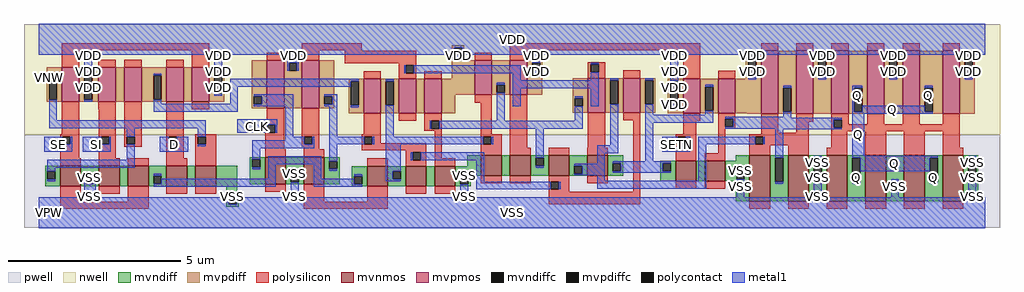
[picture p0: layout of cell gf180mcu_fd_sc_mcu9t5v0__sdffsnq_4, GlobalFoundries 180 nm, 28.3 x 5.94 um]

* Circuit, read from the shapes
.subckt gf180mcu_fd_sc_mcu9t5v0__sdffsnq_4 D SE SETN SI CLK Q VDD VNW VPW VSS
XM1 VSS SE n1 VPW nfet_06v0 w=0.59u l=0.6u
XM2 n2 SI VSS VPW nfet_06v0 w=0.59u l=0.6u
XM3 n3 SE n2 VPW nfet_06v0 w=0.59u l=0.6u
XM4 n4 D n3 VPW nfet_06v0 w=0.59u l=0.6u
XM5 VSS n1 n4 VPW nfet_06v0 w=0.59u l=0.6u
XM6 VSS CLK n5 VPW nfet_06v0 w=0.79u l=0.6u
XM7 n6 n5 VSS VPW nfet_06v0 w=0.79u l=0.6u
XM8 n7 n5 n3 VPW nfet_06v0 w=0.59u l=0.6u
XM9 n8 n6 n7 VPW nfet_06v0 w=0.59u l=0.6u
XM10 VSS n9 n8 VPW nfet_06v0 w=0.59u l=0.6u
XM11 n10 n7 VSS VPW nfet_06v0 w=0.59u l=0.6u
XM12 n9 SETN n10 VPW nfet_06v0 w=0.59u l=0.6u
XM13 n11 n6 n9 VPW nfet_06v0 w=0.59u l=0.6u
XM14 n12 n5 n11 VPW nfet_06v0 w=0.59u l=0.6u
XM15 n13 SETN n12 VPW nfet_06v0 w=0.59u l=0.6u
XM16 VSS n14 n13 VPW nfet_06v0 w=0.59u l=0.6u
XM17 n14 n11 VSS VPW nfet_06v0 w=1.32u l=0.6u m=2
XM18 Q n14 VSS VPW nfet_06v0 w=1.32u l=0.6u m=4
XM19 VDD SE n1 VNW pfet_06v0 w=1u l=0.5u
XM20 n15 SI VDD VNW pfet_06v0 w=1u l=0.5u
XM21 n16 n1 n15 VNW pfet_06v0 w=1u l=0.5u
XM22 n17 D n16 VNW pfet_06v0 w=1u l=0.5u
XM23 VDD SE n17 VNW pfet_06v0 w=1u l=0.5u
XM24 VDD CLK n5 VNW pfet_06v0 w=1.38u l=0.5u
XM25 n6 n5 VDD VNW pfet_06v0 w=1.38u l=0.5u
XM26 n7 n6 n16 VNW pfet_06v0 w=1u l=0.5u
XM27 n18 n5 n7 VNW pfet_06v0 w=1u l=0.5u
XM28 VDD n9 n18 VNW pfet_06v0 w=1u l=0.5u
XM29 n9 n7 VDD VNW pfet_06v0 w=1u l=0.5u
XM30 VDD SETN n9 VNW pfet_06v0 w=1u l=0.5u
XM31 n11 n5 n9 VNW pfet_06v0 w=1u l=0.5u
XM32 n12 n6 n11 VNW pfet_06v0 w=1u l=0.5u
XM33 n12 SETN VDD VNW pfet_06v0 w=1u l=0.5u
XM34 VDD n14 n12 VNW pfet_06v0 w=1u l=0.5u
XM35 n14 n11 VDD VNW pfet_06v0 w=1.83u l=0.5u m=2
XM36 Q n14 VDD VNW pfet_06v0 w=1.83u l=0.5u m=4
.ends

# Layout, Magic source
magic
tech gf180mcuD
magscale 1 10
<< nwell >>
rect -86 453 5574 1094
<< pwell >>
rect -86 -86 5574 453
<< mvnmos >>
rect 124 156 244 274
rect 348 156 468 274
rect 516 156 636 274
rect 740 156 860 274
rect 908 156 1028 274
rect 1312 166 1432 324
rect 1536 166 1656 324
rect 1904 154 2024 272
rect 2128 154 2248 272
rect 2296 154 2416 272
rect 2564 215 2684 333
rect 2732 215 2852 333
rect 2956 215 3076 333
rect 3180 215 3300 333
rect 3693 184 3813 302
rect 3861 184 3981 302
rect 4121 69 4241 333
rect 4345 69 4465 333
rect 4569 69 4689 333
rect 4793 69 4913 333
rect 5017 69 5137 333
rect 5241 69 5361 333
<< mvpmos >>
rect 134 644 234 844
rect 345 644 445 844
rect 496 644 596 844
rect 740 644 840 844
rect 888 644 988 844
rect 1322 608 1422 884
rect 1526 608 1626 884
rect 1884 577 1984 777
rect 2088 577 2188 777
rect 2236 577 2336 777
rect 2528 684 2628 884
rect 2732 684 2832 884
rect 3184 582 3284 782
rect 3388 582 3488 782
rect 3736 579 3836 779
rect 3940 579 4040 779
rect 4188 574 4288 940
rect 4392 574 4492 940
rect 4596 574 4696 940
rect 4803 574 4903 940
rect 5009 574 5109 940
rect 5241 574 5341 940
<< mvndiff >>
rect 1224 311 1312 324
rect 36 242 124 274
rect 36 196 49 242
rect 95 196 124 242
rect 36 156 124 196
rect 244 215 348 274
rect 244 169 273 215
rect 319 169 348 215
rect 244 156 348 169
rect 468 156 516 274
rect 636 215 740 274
rect 636 169 665 215
rect 711 169 740 215
rect 636 156 740 169
rect 860 156 908 274
rect 1028 156 1152 274
rect 1224 265 1237 311
rect 1283 265 1312 311
rect 1224 166 1312 265
rect 1432 225 1536 324
rect 1432 179 1461 225
rect 1507 179 1536 225
rect 1432 166 1536 179
rect 1656 301 1744 324
rect 1656 255 1685 301
rect 1731 255 1744 301
rect 2484 272 2564 333
rect 1656 166 1744 255
rect 1816 213 1904 272
rect 1816 167 1829 213
rect 1875 167 1904 213
rect 1088 107 1152 156
rect 1088 95 1160 107
rect 1088 49 1101 95
rect 1147 49 1160 95
rect 1088 36 1160 49
rect 1816 154 1904 167
rect 2024 242 2128 272
rect 2024 196 2053 242
rect 2099 196 2128 242
rect 2024 154 2128 196
rect 2248 154 2296 272
rect 2416 215 2564 272
rect 2684 215 2732 333
rect 2852 320 2956 333
rect 2852 274 2881 320
rect 2927 274 2956 320
rect 2852 215 2956 274
rect 3076 274 3180 333
rect 3076 228 3105 274
rect 3151 228 3180 274
rect 3076 215 3180 228
rect 3300 289 3388 333
rect 3300 243 3329 289
rect 3375 243 3388 289
rect 3300 215 3388 243
rect 2416 213 2504 215
rect 2416 167 2445 213
rect 2491 167 2504 213
rect 2416 154 2504 167
rect 4041 302 4121 333
rect 3605 289 3693 302
rect 3605 243 3618 289
rect 3664 243 3693 289
rect 3605 184 3693 243
rect 3813 184 3861 302
rect 3981 242 4121 302
rect 3981 196 4046 242
rect 4092 196 4121 242
rect 3981 184 4121 196
rect 4041 69 4121 184
rect 4241 320 4345 333
rect 4241 180 4270 320
rect 4316 180 4345 320
rect 4241 69 4345 180
rect 4465 320 4569 333
rect 4465 180 4494 320
rect 4540 180 4569 320
rect 4465 69 4569 180
rect 4689 320 4793 333
rect 4689 180 4718 320
rect 4764 180 4793 320
rect 4689 69 4793 180
rect 4913 185 5017 333
rect 4913 139 4942 185
rect 4988 139 5017 185
rect 4913 69 5017 139
rect 5137 320 5241 333
rect 5137 180 5166 320
rect 5212 180 5241 320
rect 5137 69 5241 180
rect 5361 320 5449 333
rect 5361 180 5390 320
rect 5436 180 5449 320
rect 5361 69 5449 180
<< mvpdiff >>
rect 2396 959 2468 972
rect 46 797 134 844
rect 46 657 59 797
rect 105 657 134 797
rect 46 644 134 657
rect 234 797 345 844
rect 234 657 263 797
rect 309 657 345 797
rect 234 644 345 657
rect 445 644 496 844
rect 596 797 740 844
rect 596 657 665 797
rect 711 657 740 797
rect 596 644 740 657
rect 840 644 888 844
rect 988 831 1076 844
rect 988 691 1017 831
rect 1063 691 1076 831
rect 988 644 1076 691
rect 1234 676 1322 884
rect 1234 630 1247 676
rect 1293 630 1322 676
rect 1234 608 1322 630
rect 1422 871 1526 884
rect 1422 825 1451 871
rect 1497 825 1526 871
rect 1422 608 1526 825
rect 1626 676 1714 884
rect 2396 913 2409 959
rect 2455 913 2468 959
rect 2396 884 2468 913
rect 2396 777 2528 884
rect 1626 630 1655 676
rect 1701 630 1714 676
rect 1626 608 1714 630
rect 1796 764 1884 777
rect 1796 624 1809 764
rect 1855 624 1884 764
rect 1796 577 1884 624
rect 1984 764 2088 777
rect 1984 624 2013 764
rect 2059 624 2088 764
rect 1984 577 2088 624
rect 2188 577 2236 777
rect 2336 684 2528 777
rect 2628 743 2732 884
rect 2628 697 2657 743
rect 2703 697 2732 743
rect 2628 684 2732 697
rect 2832 871 2920 884
rect 2832 825 2861 871
rect 2907 825 2920 871
rect 2832 684 2920 825
rect 2336 577 2416 684
rect 3096 665 3184 782
rect 3096 619 3109 665
rect 3155 619 3184 665
rect 3096 582 3184 619
rect 3284 769 3388 782
rect 3284 629 3313 769
rect 3359 629 3388 769
rect 3284 582 3388 629
rect 3488 769 3576 782
rect 4100 927 4188 940
rect 4100 787 4113 927
rect 4159 787 4188 927
rect 4100 779 4188 787
rect 3488 629 3517 769
rect 3563 629 3576 769
rect 3488 582 3576 629
rect 3648 766 3736 779
rect 3648 626 3661 766
rect 3707 626 3736 766
rect 3648 579 3736 626
rect 3836 732 3940 779
rect 3836 592 3865 732
rect 3911 592 3940 732
rect 3836 579 3940 592
rect 4040 579 4188 779
rect 4108 574 4188 579
rect 4288 727 4392 940
rect 4288 587 4317 727
rect 4363 587 4392 727
rect 4288 574 4392 587
rect 4492 927 4596 940
rect 4492 787 4521 927
rect 4567 787 4596 927
rect 4492 574 4596 787
rect 4696 727 4803 940
rect 4696 587 4728 727
rect 4774 587 4803 727
rect 4696 574 4803 587
rect 4903 927 5009 940
rect 4903 787 4932 927
rect 4978 787 5009 927
rect 4903 574 5009 787
rect 5109 727 5241 940
rect 5109 587 5138 727
rect 5184 587 5241 727
rect 5109 574 5241 587
rect 5341 927 5429 940
rect 5341 787 5370 927
rect 5416 787 5429 927
rect 5341 574 5429 787
<< mvndiffc >>
rect 49 196 95 242
rect 273 169 319 215
rect 665 169 711 215
rect 1237 265 1283 311
rect 1461 179 1507 225
rect 1685 255 1731 301
rect 1829 167 1875 213
rect 1101 49 1147 95
rect 2053 196 2099 242
rect 2881 274 2927 320
rect 3105 228 3151 274
rect 3329 243 3375 289
rect 2445 167 2491 213
rect 3618 243 3664 289
rect 4046 196 4092 242
rect 4270 180 4316 320
rect 4494 180 4540 320
rect 4718 180 4764 320
rect 4942 139 4988 185
rect 5166 180 5212 320
rect 5390 180 5436 320
<< mvpdiffc >>
rect 59 657 105 797
rect 263 657 309 797
rect 665 657 711 797
rect 1017 691 1063 831
rect 1247 630 1293 676
rect 1451 825 1497 871
rect 2409 913 2455 959
rect 1655 630 1701 676
rect 1809 624 1855 764
rect 2013 624 2059 764
rect 2657 697 2703 743
rect 2861 825 2907 871
rect 3109 619 3155 665
rect 3313 629 3359 769
rect 4113 787 4159 927
rect 3517 629 3563 769
rect 3661 626 3707 766
rect 3865 592 3911 732
rect 4317 587 4363 727
rect 4521 787 4567 927
rect 4728 587 4774 727
rect 4932 787 4978 927
rect 5138 587 5184 727
rect 5370 787 5416 927
<< polysilicon >>
rect 134 944 988 984
rect 134 844 234 944
rect 345 844 445 888
rect 496 844 596 888
rect 740 844 840 888
rect 888 844 988 944
rect 1526 944 1874 984
rect 1322 884 1422 928
rect 1526 884 1626 944
rect 1774 941 1874 944
rect 134 456 234 644
rect 345 600 445 644
rect 124 443 234 456
rect 124 397 137 443
rect 183 397 234 443
rect 124 318 234 397
rect 348 443 445 600
rect 348 397 361 443
rect 407 397 445 443
rect 348 318 445 397
rect 496 443 596 644
rect 496 397 509 443
rect 555 397 596 443
rect 496 384 596 397
rect 740 443 840 644
rect 888 600 988 644
rect 1774 869 2188 941
rect 2088 856 2188 869
rect 1884 777 1984 821
rect 2088 810 2129 856
rect 2175 810 2188 856
rect 2732 944 3836 984
rect 2528 884 2628 928
rect 2732 884 2832 944
rect 2088 777 2188 810
rect 2236 777 2336 821
rect 1322 525 1422 608
rect 1312 512 1422 525
rect 1312 466 1325 512
rect 1371 466 1422 512
rect 740 397 753 443
rect 799 397 840 443
rect 740 318 840 397
rect 908 443 1028 456
rect 908 397 921 443
rect 967 397 1028 443
rect 124 274 244 318
rect 348 274 468 318
rect 516 274 636 318
rect 740 274 860 318
rect 908 274 1028 397
rect 1312 368 1422 466
rect 1526 443 1626 608
rect 3184 861 3284 874
rect 3184 815 3201 861
rect 3247 815 3284 861
rect 3184 782 3284 815
rect 3388 782 3488 826
rect 2528 640 2628 684
rect 1884 456 1984 577
rect 2088 533 2188 577
rect 2236 535 2336 577
rect 2236 489 2277 535
rect 2323 489 2336 535
rect 2236 476 2336 489
rect 1526 397 1539 443
rect 1585 397 1626 443
rect 1526 384 1626 397
rect 1536 368 1626 384
rect 1874 443 1984 456
rect 1874 397 1887 443
rect 1933 404 1984 443
rect 1933 397 2248 404
rect 1312 324 1432 368
rect 1536 324 1656 368
rect 1874 364 2248 397
rect 2128 351 2248 364
rect 1904 272 2024 316
rect 2128 305 2169 351
rect 2215 305 2248 351
rect 2128 272 2248 305
rect 2296 316 2336 476
rect 2564 455 2628 640
rect 2564 443 2684 455
rect 2564 397 2577 443
rect 2623 397 2684 443
rect 2564 333 2684 397
rect 2732 377 2832 684
rect 3736 779 3836 944
rect 4188 940 4288 984
rect 4392 940 4492 984
rect 4596 940 4696 984
rect 4803 940 4903 984
rect 5009 940 5109 984
rect 5241 940 5341 984
rect 3940 779 4040 823
rect 3184 377 3284 582
rect 3388 538 3488 582
rect 2732 333 2852 377
rect 2956 333 3076 377
rect 3180 333 3300 377
rect 2296 272 2416 316
rect 124 64 244 156
rect 348 112 468 156
rect 516 64 636 156
rect 740 112 860 156
rect 908 112 1028 156
rect 124 24 636 64
rect 1312 122 1432 166
rect 1536 64 1656 166
rect 2564 171 2684 215
rect 2732 171 2852 215
rect 2956 182 3076 215
rect 1904 64 2024 154
rect 2128 110 2248 154
rect 2296 110 2416 154
rect 2956 136 2969 182
rect 3015 136 3076 182
rect 3180 171 3300 215
rect 2956 123 3076 136
rect 3448 123 3488 538
rect 3736 535 3836 579
rect 3940 546 4040 579
rect 3736 456 3813 535
rect 3693 443 3813 456
rect 3693 397 3706 443
rect 3752 397 3813 443
rect 3693 302 3813 397
rect 3940 500 3981 546
rect 4027 500 4040 546
rect 3940 487 4040 500
rect 3940 346 3981 487
rect 4188 465 4288 574
rect 4392 530 4492 574
rect 4596 541 4696 574
rect 4392 465 4465 530
rect 4188 456 4465 465
rect 3861 302 3981 346
rect 4121 443 4465 456
rect 4121 397 4154 443
rect 4200 397 4465 443
rect 4121 393 4465 397
rect 4121 333 4241 393
rect 4345 333 4465 393
rect 4596 495 4609 541
rect 4655 514 4696 541
rect 4803 514 4903 574
rect 5009 514 5109 574
rect 5241 514 5341 574
rect 4655 495 5341 514
rect 4596 474 5341 495
rect 4596 377 4689 474
rect 4569 333 4689 377
rect 4793 333 4913 474
rect 5017 333 5137 474
rect 5241 377 5341 474
rect 5241 333 5361 377
rect 3693 140 3813 184
rect 3861 140 3981 184
rect 1536 24 2024 64
rect 2956 51 3488 123
rect 4121 25 4241 69
rect 4345 25 4465 69
rect 4569 25 4689 69
rect 4793 25 4913 69
rect 5017 25 5137 69
rect 5241 25 5361 69
<< polycontact >>
rect 137 397 183 443
rect 361 397 407 443
rect 509 397 555 443
rect 2129 810 2175 856
rect 1325 466 1371 512
rect 753 397 799 443
rect 921 397 967 443
rect 3201 815 3247 861
rect 2277 489 2323 535
rect 1539 397 1585 443
rect 1887 397 1933 443
rect 2169 305 2215 351
rect 2577 397 2623 443
rect 2969 136 3015 182
rect 3706 397 3752 443
rect 3981 500 4027 546
rect 4154 397 4200 443
rect 4609 495 4655 541
<< metal1 >>
rect 0 959 5488 1098
rect 0 918 2409 959
rect 59 797 105 808
rect 59 537 105 657
rect 263 797 309 918
rect 1017 831 1063 918
rect 263 646 309 657
rect 665 797 711 808
rect 1440 871 1508 918
rect 2455 927 5488 959
rect 2455 918 4113 927
rect 2409 902 2455 913
rect 1440 825 1451 871
rect 1497 825 1508 871
rect 2861 871 2907 918
rect 2118 810 2129 856
rect 2175 810 2795 856
rect 2861 814 2907 825
rect 3201 861 3247 872
rect 1017 680 1063 691
rect 1109 764 1855 779
rect 1109 733 1809 764
rect 665 634 711 657
rect 1109 634 1155 733
rect 665 588 1155 634
rect 1247 676 1474 687
rect 1293 630 1474 676
rect 1247 619 1474 630
rect 1655 676 1731 687
rect 1701 630 1731 676
rect 1655 619 1731 630
rect 59 491 967 537
rect 509 443 555 491
rect 921 443 967 491
rect 1150 512 1382 542
rect 1150 466 1325 512
rect 1371 466 1382 512
rect 30 397 137 443
rect 183 397 194 443
rect 30 354 194 397
rect 254 397 361 443
rect 407 397 418 443
rect 254 354 418 397
rect 509 308 555 397
rect 702 397 753 443
rect 799 397 866 443
rect 702 354 866 397
rect 1428 443 1474 619
rect 1685 443 1731 619
rect 1809 613 1855 624
rect 2013 764 2059 775
rect 2749 768 2795 810
rect 3201 768 3247 815
rect 2013 443 2059 624
rect 2657 743 2703 754
rect 2657 535 2703 697
rect 2749 722 3247 768
rect 2749 619 2795 722
rect 3109 665 3155 676
rect 3201 619 3247 722
rect 3313 769 3359 780
rect 3109 535 3155 619
rect 2266 489 2277 535
rect 2323 489 3155 535
rect 1428 420 1539 443
rect 921 386 967 397
rect 1237 397 1539 420
rect 1585 397 1596 443
rect 1237 374 1596 397
rect 1685 397 1887 443
rect 1933 397 1944 443
rect 2013 397 2577 443
rect 2623 397 2634 443
rect 49 262 555 308
rect 1237 311 1283 374
rect 49 242 95 262
rect 1237 254 1283 265
rect 1329 282 1639 328
rect 665 215 711 226
rect 49 185 95 196
rect 262 169 273 215
rect 319 169 330 215
rect 262 90 330 169
rect 1329 198 1375 282
rect 711 169 1375 198
rect 665 152 1375 169
rect 1461 225 1507 236
rect 1101 95 1147 106
rect 0 49 1101 90
rect 1461 90 1507 179
rect 1593 198 1639 282
rect 1685 301 1731 397
rect 1685 244 1731 255
rect 2013 242 2099 397
rect 2158 305 2169 351
rect 2215 305 2583 351
rect 1829 213 1875 224
rect 1593 167 1829 198
rect 2013 196 2053 242
rect 2013 185 2099 196
rect 2445 213 2491 224
rect 1593 152 1875 167
rect 2445 90 2491 167
rect 2537 182 2583 305
rect 2881 320 2927 489
rect 3313 392 3359 629
rect 3237 346 3359 392
rect 3517 769 3563 780
rect 3517 569 3563 629
rect 3661 766 3707 918
rect 4159 918 4521 927
rect 4113 776 4159 787
rect 4567 918 4932 927
rect 4521 776 4567 787
rect 4978 918 5370 927
rect 4932 776 4978 787
rect 5416 918 5488 927
rect 5370 776 5416 787
rect 3661 615 3707 626
rect 3865 732 3911 743
rect 3865 569 3911 592
rect 3517 523 3911 569
rect 4317 727 4363 738
rect 4317 557 4363 587
rect 3981 552 4363 557
rect 4718 727 4774 738
rect 4718 587 4728 727
rect 5138 727 5184 738
rect 4774 587 5138 622
rect 4718 576 5184 587
rect 3981 546 4655 552
rect 3237 285 3283 346
rect 3517 300 3563 523
rect 4027 541 4655 546
rect 4027 500 4609 541
rect 3981 495 4609 500
rect 3981 489 4655 495
rect 4270 484 4655 489
rect 3614 397 3706 443
rect 3752 397 3778 443
rect 3614 354 3778 397
rect 3824 397 4154 443
rect 4200 397 4211 443
rect 2881 263 2927 274
rect 3105 274 3283 285
rect 3151 228 3283 274
rect 3329 289 3664 300
rect 3375 243 3618 289
rect 3329 232 3664 243
rect 3105 217 3283 228
rect 3237 186 3283 217
rect 3824 186 3870 397
rect 4270 320 4316 484
rect 4718 331 4786 576
rect 2537 136 2969 182
rect 3015 136 3026 182
rect 3237 140 3870 186
rect 4046 242 4092 253
rect 4046 90 4092 196
rect 4270 169 4316 180
rect 4494 320 4540 331
rect 4494 90 4540 180
rect 4718 320 5212 331
rect 4764 242 5166 320
rect 4718 169 4764 180
rect 4942 185 4988 196
rect 5166 169 5212 180
rect 5390 320 5436 331
rect 4942 90 4988 139
rect 5390 90 5436 180
rect 1147 49 5488 90
rect 0 -90 5488 49
<< labels >>
flabel metal1 s 1150 466 1382 542 0 FreeSans 200 0 0 0 CLK
port 5 nsew clock input
flabel metal1 s 702 354 866 443 0 FreeSans 200 0 0 0 D
port 1 nsew default input
flabel metal1 s 5138 622 5184 738 0 FreeSans 200 0 0 0 Q
port 6 nsew default output
flabel metal1 s 30 354 194 443 0 FreeSans 200 0 0 0 SE
port 2 nsew default input
flabel metal1 s 3614 354 3778 443 0 FreeSans 200 0 0 0 SETN
port 3 nsew default input
flabel metal1 s 254 354 418 443 0 FreeSans 200 0 0 0 SI
port 4 nsew default input
flabel metal1 s 0 918 5488 1098 0 FreeSans 200 0 0 0 VDD
port 7 nsew power bidirectional abutment
flabel metal1 s 5390 253 5436 331 0 FreeSans 200 0 0 0 VSS
port 10 nsew ground bidirectional abutment
flabel nwell s 10 734 110 834 0 FreeSans 400 0 0 0 VNW
port 8 nsew power bidirectional
flabel pwell s 10 -50 110 50 0 FreeSans 400 0 0 0 VPW
port 9 nsew ground bidirectional
rlabel metal1 s 4718 622 4774 738 1 Q
port 6 nsew default output
rlabel metal1 s 4718 576 5184 622 1 Q
port 6 nsew default output
rlabel metal1 s 4718 331 4786 576 1 Q
port 6 nsew default output
rlabel metal1 s 4718 242 5212 331 1 Q
port 6 nsew default output
rlabel metal1 s 5166 169 5212 242 1 Q
port 6 nsew default output
rlabel metal1 s 4718 169 4764 242 1 Q
port 6 nsew default output
rlabel metal1 s 5370 902 5416 918 1 VDD
port 7 nsew power bidirectional abutment
rlabel metal1 s 4932 902 4978 918 1 VDD
port 7 nsew power bidirectional abutment
rlabel metal1 s 4521 902 4567 918 1 VDD
port 7 nsew power bidirectional abutment
rlabel metal1 s 4113 902 4159 918 1 VDD
port 7 nsew power bidirectional abutment
rlabel metal1 s 3661 902 3707 918 1 VDD
port 7 nsew power bidirectional abutment
rlabel metal1 s 2861 902 2907 918 1 VDD
port 7 nsew power bidirectional abutment
rlabel metal1 s 2409 902 2455 918 1 VDD
port 7 nsew power bidirectional abutment
rlabel metal1 s 1440 902 1508 918 1 VDD
port 7 nsew power bidirectional abutment
rlabel metal1 s 1017 902 1063 918 1 VDD
port 7 nsew power bidirectional abutment
rlabel metal1 s 263 902 309 918 1 VDD
port 7 nsew power bidirectional abutment
rlabel metal1 s 5370 825 5416 902 1 VDD
port 7 nsew power bidirectional abutment
rlabel metal1 s 4932 825 4978 902 1 VDD
port 7 nsew power bidirectional abutment
rlabel metal1 s 4521 825 4567 902 1 VDD
port 7 nsew power bidirectional abutment
rlabel metal1 s 4113 825 4159 902 1 VDD
port 7 nsew power bidirectional abutment
rlabel metal1 s 3661 825 3707 902 1 VDD
port 7 nsew power bidirectional abutment
rlabel metal1 s 2861 825 2907 902 1 VDD
port 7 nsew power bidirectional abutment
rlabel metal1 s 1440 825 1508 902 1 VDD
port 7 nsew power bidirectional abutment
rlabel metal1 s 1017 825 1063 902 1 VDD
port 7 nsew power bidirectional abutment
rlabel metal1 s 263 825 309 902 1 VDD
port 7 nsew power bidirectional abutment
rlabel metal1 s 5370 814 5416 825 1 VDD
port 7 nsew power bidirectional abutment
rlabel metal1 s 4932 814 4978 825 1 VDD
port 7 nsew power bidirectional abutment
rlabel metal1 s 4521 814 4567 825 1 VDD
port 7 nsew power bidirectional abutment
rlabel metal1 s 4113 814 4159 825 1 VDD
port 7 nsew power bidirectional abutment
rlabel metal1 s 3661 814 3707 825 1 VDD
port 7 nsew power bidirectional abutment
rlabel metal1 s 2861 814 2907 825 1 VDD
port 7 nsew power bidirectional abutment
rlabel metal1 s 1017 814 1063 825 1 VDD
port 7 nsew power bidirectional abutment
rlabel metal1 s 263 814 309 825 1 VDD
port 7 nsew power bidirectional abutment
rlabel metal1 s 5370 776 5416 814 1 VDD
port 7 nsew power bidirectional abutment
rlabel metal1 s 4932 776 4978 814 1 VDD
port 7 nsew power bidirectional abutment
rlabel metal1 s 4521 776 4567 814 1 VDD
port 7 nsew power bidirectional abutment
rlabel metal1 s 4113 776 4159 814 1 VDD
port 7 nsew power bidirectional abutment
rlabel metal1 s 3661 776 3707 814 1 VDD
port 7 nsew power bidirectional abutment
rlabel metal1 s 1017 776 1063 814 1 VDD
port 7 nsew power bidirectional abutment
rlabel metal1 s 263 776 309 814 1 VDD
port 7 nsew power bidirectional abutment
rlabel metal1 s 3661 680 3707 776 1 VDD
port 7 nsew power bidirectional abutment
rlabel metal1 s 1017 680 1063 776 1 VDD
port 7 nsew power bidirectional abutment
rlabel metal1 s 263 680 309 776 1 VDD
port 7 nsew power bidirectional abutment
rlabel metal1 s 3661 646 3707 680 1 VDD
port 7 nsew power bidirectional abutment
rlabel metal1 s 263 646 309 680 1 VDD
port 7 nsew power bidirectional abutment
rlabel metal1 s 3661 615 3707 646 1 VDD
port 7 nsew power bidirectional abutment
rlabel metal1 s 4494 253 4540 331 1 VSS
port 10 nsew ground bidirectional abutment
rlabel metal1 s 5390 236 5436 253 1 VSS
port 10 nsew ground bidirectional abutment
rlabel metal1 s 4494 236 4540 253 1 VSS
port 10 nsew ground bidirectional abutment
rlabel metal1 s 4046 236 4092 253 1 VSS
port 10 nsew ground bidirectional abutment
rlabel metal1 s 5390 224 5436 236 1 VSS
port 10 nsew ground bidirectional abutment
rlabel metal1 s 4494 224 4540 236 1 VSS
port 10 nsew ground bidirectional abutment
rlabel metal1 s 4046 224 4092 236 1 VSS
port 10 nsew ground bidirectional abutment
rlabel metal1 s 1461 224 1507 236 1 VSS
port 10 nsew ground bidirectional abutment
rlabel metal1 s 5390 215 5436 224 1 VSS
port 10 nsew ground bidirectional abutment
rlabel metal1 s 4494 215 4540 224 1 VSS
port 10 nsew ground bidirectional abutment
rlabel metal1 s 4046 215 4092 224 1 VSS
port 10 nsew ground bidirectional abutment
rlabel metal1 s 2445 215 2491 224 1 VSS
port 10 nsew ground bidirectional abutment
rlabel metal1 s 1461 215 1507 224 1 VSS
port 10 nsew ground bidirectional abutment
rlabel metal1 s 5390 196 5436 215 1 VSS
port 10 nsew ground bidirectional abutment
rlabel metal1 s 4494 196 4540 215 1 VSS
port 10 nsew ground bidirectional abutment
rlabel metal1 s 4046 196 4092 215 1 VSS
port 10 nsew ground bidirectional abutment
rlabel metal1 s 2445 196 2491 215 1 VSS
port 10 nsew ground bidirectional abutment
rlabel metal1 s 1461 196 1507 215 1 VSS
port 10 nsew ground bidirectional abutment
rlabel metal1 s 262 196 330 215 1 VSS
port 10 nsew ground bidirectional abutment
rlabel metal1 s 5390 106 5436 196 1 VSS
port 10 nsew ground bidirectional abutment
rlabel metal1 s 4942 106 4988 196 1 VSS
port 10 nsew ground bidirectional abutment
rlabel metal1 s 4494 106 4540 196 1 VSS
port 10 nsew ground bidirectional abutment
rlabel metal1 s 4046 106 4092 196 1 VSS
port 10 nsew ground bidirectional abutment
rlabel metal1 s 2445 106 2491 196 1 VSS
port 10 nsew ground bidirectional abutment
rlabel metal1 s 1461 106 1507 196 1 VSS
port 10 nsew ground bidirectional abutment
rlabel metal1 s 262 106 330 196 1 VSS
port 10 nsew ground bidirectional abutment
rlabel metal1 s 5390 90 5436 106 1 VSS
port 10 nsew ground bidirectional abutment
rlabel metal1 s 4942 90 4988 106 1 VSS
port 10 nsew ground bidirectional abutment
rlabel metal1 s 4494 90 4540 106 1 VSS
port 10 nsew ground bidirectional abutment
rlabel metal1 s 4046 90 4092 106 1 VSS
port 10 nsew ground bidirectional abutment
rlabel metal1 s 2445 90 2491 106 1 VSS
port 10 nsew ground bidirectional abutment
rlabel metal1 s 1461 90 1507 106 1 VSS
port 10 nsew ground bidirectional abutment
rlabel metal1 s 1101 90 1147 106 1 VSS
port 10 nsew ground bidirectional abutment
rlabel metal1 s 262 90 330 106 1 VSS
port 10 nsew ground bidirectional abutment
rlabel metal1 s 0 -90 5488 90 1 VSS
port 10 nsew ground bidirectional abutment
<< properties >>
string FIXED_BBOX 0 0 5488 1008
string GDS_END 441140
string GDS_FILE $PDKPATH/libs.ref/gf180mcu_fd_sc_mcu9t5v0/gds/gf180mcu_fd_sc_mcu9t5v0.gds
string GDS_START 428786
string LEFclass core
string LEFsite GF018hv5v_green_sc9
string LEFsymmetry X Y
<< end >>
